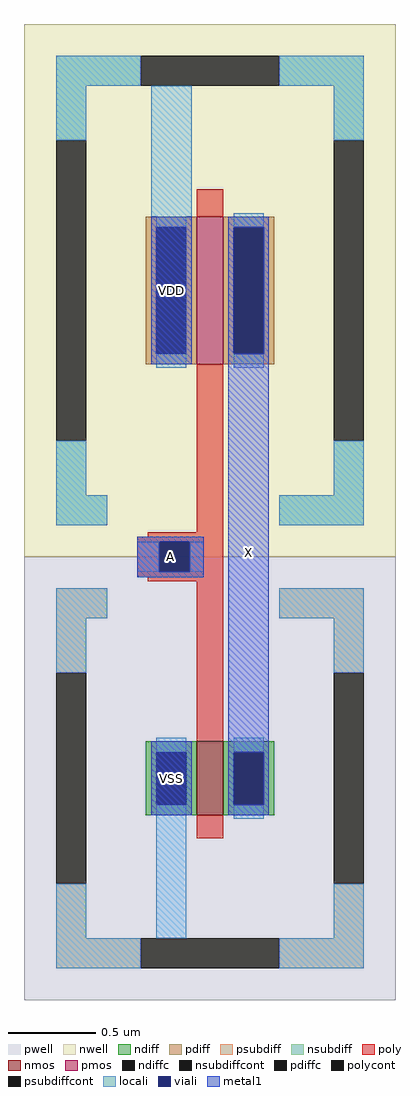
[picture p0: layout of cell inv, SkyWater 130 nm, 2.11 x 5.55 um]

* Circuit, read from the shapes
.subckt inv VDD VSS A X
XM1 X A VSS VSS sky130_fd_pr__nfet_01v8 w=0.42 l=0.15
XM2 X A VDD VDD sky130_fd_pr__pfet_01v8 w=0.84 l=0.15
.ends

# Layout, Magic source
magic
tech sky130A
magscale 1 2
<< poly >>
rect 143 479 173 639
rect 87 474 173 479
rect 75 468 173 474
rect 75 434 100 468
rect 135 434 173 468
rect 75 428 173 434
rect 87 423 173 428
rect 143 263 173 423
<< polycont >>
rect 100 434 135 468
<< locali >>
rect 75 434 100 468
rect 135 434 151 468
<< viali >>
rect 100 434 135 468
<< metal1 >>
rect 91 670 137 838
rect 75 468 151 474
rect 75 434 100 468
rect 135 434 151 468
rect 75 428 151 434
rect 179 241 225 670
rect 91 157 137 241
use sky130_fd_pr__nfet_01v8_EDB9KC  sky130_fd_pr__nfet_01v8_EDB9KC_0
transform 1 0 158 0 1 199
box -211 -252 211 252
use sky130_fd_pr__pfet_01v8_MQX2PY  sky130_fd_pr__pfet_01v8_MQX2PY_0
transform 1 0 158 0 1 754
box -211 -303 211 303
<< labels >>
flabel metal1 91 670 137 838 0 FreeSans 160 90 0 0 VDD
port 1 nsew
flabel metal1 91 157 137 241 0 FreeSans 160 90 0 0 VSS
port 2 nsew
flabel metal1 75 428 151 474 0 FreeSans 160 0 0 0 A
port 3 nsew
flabel metal1 179 241 225 670 0 FreeSans 160 0 0 0 X
port 4 nsew
<< end >>

# cell sky130_fd_pr__nfet_01v8_EDB9KC: kit device sky130_fd_pr__nfet_01v8, w 0.420 l 0.150 m 1 nf 1 diffcov 100 polycov 100 guard 1 glc 1 grc 1 gtc 1 gbc 1 tbcov 100 rlcov 100 topc 1 botc 1 poverlap 0 doverlap 1 lmin 0.15 wmin 0.42 compatible {sky130_fd_pr__nfet_01v8 sky130_fd_pr__nfet_01v8_lvt sky130_fd_bs_flash__special_sonosfet_star sky130_fd_pr__nfet_g5v0d10v5 sky130_fd_pr__nfet_05v0_nvt sky130_fd_pr__nfet_03v3_nvt} full_metal 1 viasrc 100 viadrn 100 viagate 100 viagb 0 viagr 0 viagl 0 viagt 0

# cell sky130_fd_pr__pfet_01v8_MQX2PY: kit device sky130_fd_pr__pfet_01v8, w 0.84 l 0.15 m 1 nf 1 diffcov 100 polycov 100 guard 1 glc 1 grc 1 gtc 1 gbc 1 tbcov 100 rlcov 100 topc 1 botc 1 poverlap 0 doverlap 1 lmin 0.15 wmin 0.42 compatible {sky130_fd_pr__pfet_01v8 sky130_fd_pr__pfet_01v8_lvt sky130_fd_pr__pfet_01v8_hvt sky130_fd_pr__pfet_g5v0d10v5} full_metal 1 viasrc 100 viadrn 100 viagate 100 viagb 0 viagr 0 viagl 0 viagt 0
